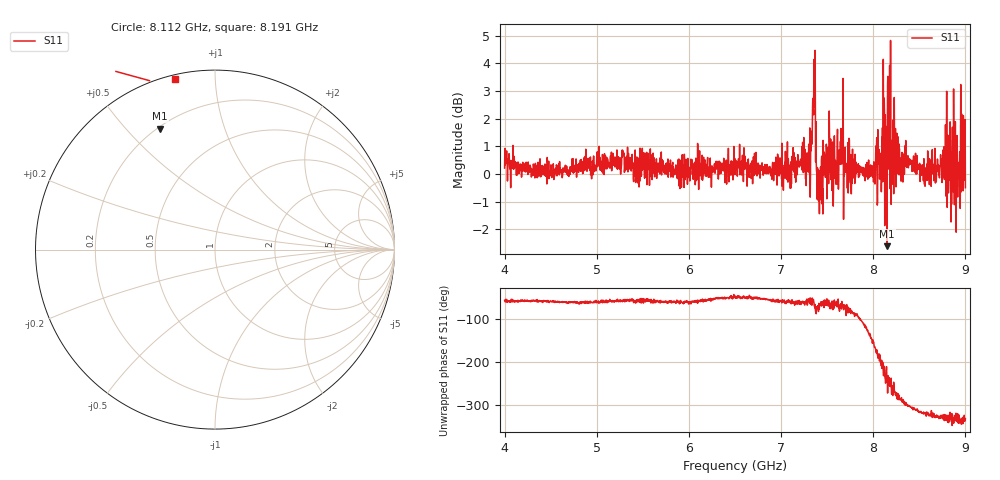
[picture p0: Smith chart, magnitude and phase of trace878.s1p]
! Created with skrf 1.8.0 (http://scikit-rf.org).
# Hz S RI R 50.0
!freq ReS11 ImS11
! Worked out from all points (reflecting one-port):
!   1601 points, 4 GHz to 9 GHz, reference 50 ohm
!   lowest |S11| = -2.6 dB at 8.15 GHz (marker M1), VSWR 6.69, Z = 10.5 + j31.2 ohm
!   phase of S11 starts at -56 deg and turns -275 deg over the sweep
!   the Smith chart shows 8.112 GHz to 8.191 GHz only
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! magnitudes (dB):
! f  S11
! 4 GHz  0.2
! 4.625 GHz  -0.1
! 5.25 GHz  0.2
! 5.875 GHz  0.1
! 6.5 GHz  0.2
! 7.125 GHz  0.5
! 7.294 GHz  0.1
! 7.353 GHz  2.1
! 7.409 GHz  0.1
! 7.512 GHz  1.0
! 7.575 GHz  0.3
! 7.65 GHz  1.6
! 7.703 GHz  0.1
! 7.75 GHz  0.0
! 8 GHz  0.3
! 8.066 GHz  0.8
! 8.134 GHz  0.1
! 8.15 GHz  -2.6
! 8.178 GHz  3.9
! 8.216 GHz  2.0
! 8.375 GHz  0.7
! 8.562 GHz  -0.4
! 8.816 GHz  -0.7
! 8.844 GHz  -1.7
! 8.884 GHz  1.6
! 8.919 GHz  -0.3
! 8.972 GHz  1.1
! 9 GHz  -0.5
